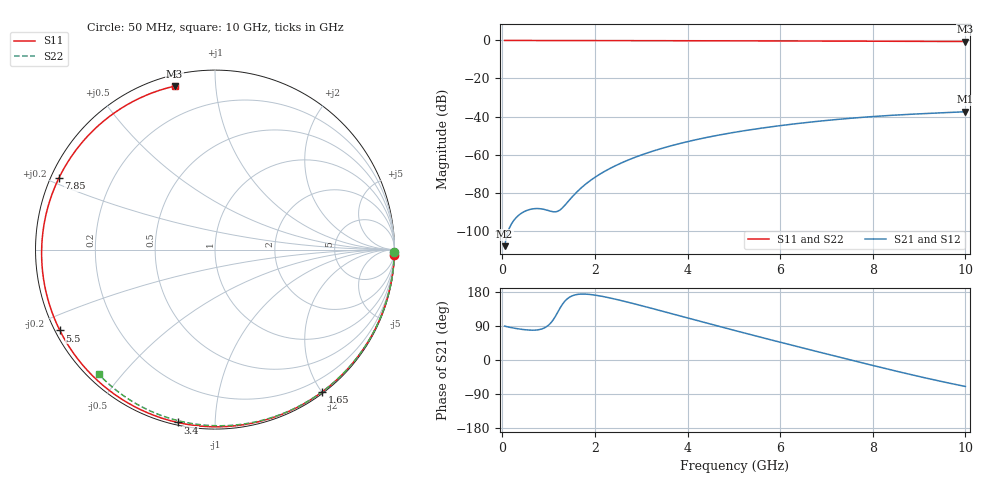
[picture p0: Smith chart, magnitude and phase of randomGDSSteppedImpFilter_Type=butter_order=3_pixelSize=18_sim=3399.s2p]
! freq	dB(S11)	phase(S11)	dB(S12)	phase(S12)
!  dB(S21)	phase(S21)	dB(S22)	phase(S22)
!S-par simulation data
#  GHz  S  DB  R 50
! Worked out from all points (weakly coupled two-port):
!   200 points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, 50 MHz to 10 GHz, reference 50 ohm
!   highest |S21| = -37.50 dB at 10 GHz (marker M1); lowest = -108.2 dB at 50 MHz (marker M2)
!   lowest |S11| = -0.6 dB at 10 GHz (marker M3), VSWR 31.34, Z = 2.57 + j39.1 ohm
!   |S11| at or under -10 dB: nowhere
!   |S22| runs from -0.4 to 0.0 dB; largest |S21 - S12| = 0
!   S11 on the Smith chart (normalised r, x): 50 MHz: 0, -69; 1.65 GHz: 0.02, -2.01; 3.4 GHz: 0.01, -0.81; 5.5 GHz: 0.01, -0.24; 7.85 GHz: 0.02, +0.22; 10 GHz: 0.05, +0.78
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0.05  -0.00 -1.7  -108.19 89.4  -108.19 89.4  -0.00 -0.8
0.4  -0.02 -13.2  -91.07 81.2  -91.07 81.2  -0.01 -6.1
0.8  -0.03 -26.2  -88.45 80.3  -88.45 80.3  -0.02 -12.2
1.2  -0.05 -39.0  -89.83 126.8  -89.83 126.8  -0.02 -18.3
1.6  -0.06 -51.4  -79.94 172.6  -79.94 172.6  -0.03 -24.3
1.65  -0.07 -52.9  -78.75 173.5  -78.75 173.5  -0.03 -25.0
1.75  -0.07 -55.9  -76.56 174.0  -76.56 174.0  -0.03 -26.5
2.05  -0.08 -64.9  -71.19 170.3  -71.19 170.3  -0.04 -30.9
2.45  -0.09 -76.5  -65.80 160.3  -65.80 160.3  -0.05 -36.8
2.9  -0.11 -88.9  -61.15 146.7  -61.15 146.7  -0.06 -43.3
3.4  -0.13 -102.2  -57.08 130.7  -57.08 130.7  -0.07 -50.4
4.15  -0.16 -121.0  -52.38 106.1  -52.38 106.1  -0.08 -60.9
4.6  -0.18 -131.8  -50.11 91.4  -50.11 91.4  -0.10 -67.0
5.05  -0.20 -142.3  -48.16 76.9  -48.16 76.9  -0.11 -73.0
5.5  -0.22 -152.5  -46.46 62.6  -46.46 62.6  -0.13 -78.9
6.1  -0.26 -165.9  -44.49 43.8  -44.49 43.8  -0.15 -86.6
6.7  -0.30 -179.1  -42.81 25.3  -42.81 25.3  -0.18 -94.1
7.25  -0.34 168.7  -41.50 8.4  -41.50 8.4  -0.21 -100.8
7.85  -0.38 155.3  -40.29 -9.8  -40.29 -9.8  -0.25 -108.0
8.35  -0.42 143.8  -39.46 -24.8  -39.46 -24.8  -0.29 -113.9
9.2  -0.49 123.7  -38.36 -49.0  -38.36 -49.0  -0.37 -123.8
10  -0.55 103.9  -37.50 -69.9  -37.50 -69.9  -0.45 -133.0
